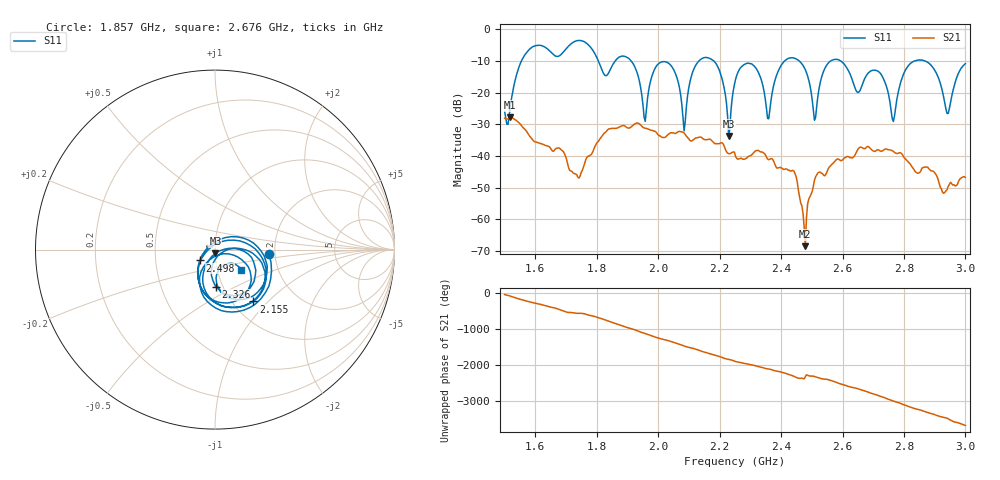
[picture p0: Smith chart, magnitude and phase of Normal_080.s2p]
# HZ S RI R 50
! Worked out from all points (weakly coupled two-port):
!   404 points, 1.5 GHz to 3 GHz, reference 50 ohm
!   highest |S21| = -27.79 dB at 1.519 GHz (marker M1); lowest = -68.5 dB at 2.479 GHz (marker M2)
!   lowest |S11| = -33.7 dB at 2.23 GHz (marker M3), VSWR 1.04, Z = 50.2 - j2.07 ohm
!   |S11| at or under -10 dB: 1.912 GHz to 2.133 GHz (220.8 MHz wide, 10.9 % of centre); 2.181 GHz to 2.412 GHz (230.5 MHz wide, 10 % of centre); 2.594 GHz to 2.835 GHz (240.5 MHz wide, 8.86 % of centre) (the widest 3 of 7)
!   S12 and S22 are empty: the file has one direction only
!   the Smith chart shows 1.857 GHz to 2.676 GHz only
!   S11 on the Smith chart (normalised r, x): 1.857 GHz: 1.86, -0.11; 2.155 GHz: 1.24, -0.82; 2.326 GHz: 0.92, -0.40; 2.498 GHz: 0.84, -0.10; 2.676 GHz: 1.29, -0.30
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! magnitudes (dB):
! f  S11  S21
! 1.5 GHz  -25.9  -28.1
! 1.519 GHz  -24.3  -27.8
! 1.582 GHz  -6.2  -33.8
! 1.753 GHz  -3.7  -44.5
! 1.857 GHz  -10.4  -31.3
! 1.958 GHz  -29.1  -31.3
! 2.002 GHz  -10.8  -33.6
! 2.084 GHz  -32.1  -32.8
! 2.155 GHz  -8.9  -34.9
! 2.23 GHz  -33.7  -39.3
! 2.252 GHz  -15.8  -40.2
! 2.326 GHz  -13.7  -38.3
! 2.36 GHz  -28.3  -41.2
! 2.408 GHz  -10.3  -44.3
! 2.479 GHz  -12.8  -68.5
! 2.498 GHz  -19.6  -52.2
! 2.501 GHz  -22.2  -51.2
! 2.676 GHz  -14.8  -37.5
! 2.751 GHz  -21.0  -38.1
! 2.859 GHz  -9.7  -43.9
! 2.944 GHz  -26.5  -49.6
! 3 GHz  -10.8  -46.8
